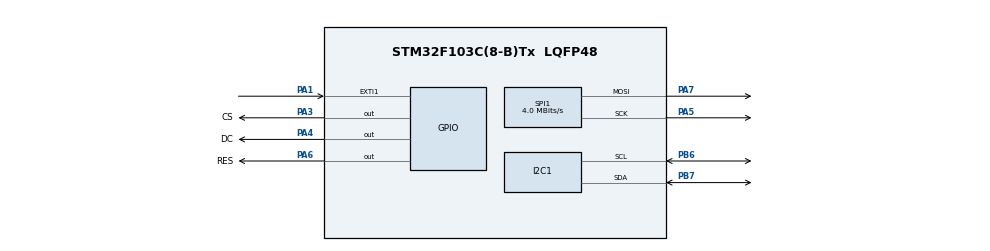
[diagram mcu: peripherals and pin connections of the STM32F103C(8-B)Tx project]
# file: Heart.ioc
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Mcu.Family=STM32F1
Mcu.Name=STM32F103C(8-B)Tx
Mcu.Package=LQFP48
NVIC.EXTI1_IRQn=true\:0\:0\:false\:false\:true\:true\:true
NVIC.PriorityGroup=NVIC_PRIORITYGROUP_4
PA1.GPIO_ModeDefaultEXTI=GPIO_MODE_IT_FALLING
PA1.GPIO_PuPd=GPIO_PULLUP
PA1.Signal=GPXTI1
PA13.Mode=Serial_Wire
PA13.Signal=SYS_JTMS-SWDIO
PA14.Mode=Serial_Wire
PA14.Signal=SYS_JTCK-SWCLK
PA3.GPIO_Label=CS
PA3.Signal=GPIO_Output
PA4.GPIO_Label=DC
PA4.Signal=GPIO_Output
PA5.Mode=TX_Only_Simplex_Unidirect_Master
PA5.Signal=SPI1_SCK
PA6.GPIO_Label=RES
PA6.Signal=GPIO_Output
PA7.Mode=TX_Only_Simplex_Unidirect_Master
PA7.Signal=SPI1_MOSI
PB6.GPIO_Pu=GPIO_PULLUP
PB6.Mode=I2C
PB6.Signal=I2C1_SCL
PB7.GPIO_Pu=GPIO_PULLUP
PB7.Mode=I2C
PB7.Signal=I2C1_SDA
ProjectManager.HeapSize=0x200
ProjectManager.StackSize=0x400
ProjectManager.TargetToolchain=STM32CubeIDE
RCC.APB1Freq_Value=8000000
RCC.APB2Freq_Value=8000000
SPI1.CalculateBaudRate=4.0 MBits/s
SPI1.Direction=SPI_DIRECTION_2LINES
SPI1.Mode=SPI_MODE_MASTER
SPI1.VirtualType=VM_MASTER
board=custom

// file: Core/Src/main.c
/* USER CODE BEGIN Header */
/**
  ******************************************************************************
  * @file           : main.c
  * @brief          : Main program body
  ******************************************************************************
  * @attention
  *
  * <h2><center>&copy; Copyright (c) 2024 STMicroelectronics.
  * All rights reserved.</center></h2>
  *
  * This software component is licensed by ST under BSD 3-Clause license,
  * the "License"; You may not use this file except in compliance with the
  * License. You may obtain a copy of the License at:
  *                        opensource.org/licenses/BSD-3-Clause
  *
  ******************************************************************************
  */
/* USER CODE END Header */
#include "main.h"

/* USER CODE BEGIN Includes */
#include "my_SSD1306.h"
#include "my_MAX30100.h"
#include "my_Fonts.h"

/* USER CODE END Includes */

I2C_HandleTypeDef hi2c1;

SPI_HandleTypeDef hspi1;

/* USER CODE BEGIN PV */
MAX30100_Handle_t max30100;

float ir_filtered = 0.0, red_filtered = 0.0;
float dc_red = 0.0, dc_ir = 0.0, ac_red = 0.0, ac_ir = 0.0;
float spo2 = 0.0, heart_rate = 0.0;

const int sample_rate = 100;
const int analysis_time = 5;
int length = sample_rate * analysis_time;
int peak_count = 0;
float peak_interval = 0;
uint8_t fifo_full_flag = 0;
uint8_t int_status;
uint8_t data_ready_flag = 0;
uint8_t error_flag = 0;

/* USER CODE END PV */

void SystemClock_Config(void);
static void MX_GPIO_Init(void);
static void MX_I2C1_Init(void);
static void MX_SPI1_Init(void);
/* USER CODE BEGIN PFP */
void process(void);
/* USER CODE END PFP */

int main(void)
{

  /* MCU Configuration--------------------------------------------------------*/

  /* Reset of all peripherals, Initializes the Flash interface and the Systick. */
  HAL_Init();

  /* Configure the system clock */
  SystemClock_Config();

  /* Initialize all configured peripherals */
  MX_GPIO_Init();
  MX_I2C1_Init();
  MX_SPI1_Init();
  /* USER CODE BEGIN 2 */
  SSD1306_Init();
  MAX30100_Init(&max30100, &hi2c1);
  SSD1306_Fill(Black);
  //SSD1306_WriteString("SSD1306 OK", Font_7x10, White);
  SSD1306_UpdateScreen();
  /* USER CODE END 2 */

  /* Infinite loop */
  while (1)
  {

    /* USER CODE BEGIN 3 */
	  if(fifo_full_flag)
	  {
		  fifo_full_flag = 0;
	      MAX30100_Read_FIFO(&max30100); // Đọc FIFO
	  }

	  if(data_ready_flag)
	  {
	      data_ready_flag = 0;
	      process(); // Xử lý dữ liệu (lọc, tính toán, hiển thị)
	  }

	  if (error_flag)
	  {
		  SSD1306_SetCursor(0, 0);
		  SSD1306_WriteString("Error detected", Font_7x10, White);
		  SSD1306_UpdateScreen();
		  HAL_Delay(1000);
		  MAX30100_Init(&max30100, &hi2c1);
		  error_flag = 0;
		  SSD1306_SetCursor(0, 20);
		  SSD1306_WriteString("Restarting...", Font_7x10, White);
		  SSD1306_UpdateScreen();
		  HAL_Delay(2000); // Khởi động lại cảm biến
	  }
  }
  /* USER CODE END 3 */
}

void SystemClock_Config(void)
{
  RCC_OscInitTypeDef RCC_OscInitStruct = {0};
  RCC_ClkInitTypeDef RCC_ClkInitStruct = {0};

  /** Initializes the RCC Oscillators according to the specified parameters
  * in the RCC_OscInitTypeDef structure.
  */
  RCC_OscInitStruct.OscillatorType = RCC_OSCILLATORTYPE_HSI;
  RCC_OscInitStruct.HSIState = RCC_HSI_ON;
  RCC_OscInitStruct.HSICalibrationValue = RCC_HSICALIBRATION_DEFAULT;
  RCC_OscInitStruct.PLL.PLLState = RCC_PLL_NONE;
  if (HAL_RCC_OscConfig(&RCC_OscInitStruct) != HAL_OK)
  {
    Error_Handler();
  }
  /** Initializes the CPU, AHB and APB buses clocks
  */
  RCC_ClkInitStruct.ClockType = RCC_CLOCKTYPE_HCLK|RCC_CLOCKTYPE_SYSCLK
                              |RCC_CLOCKTYPE_PCLK1|RCC_CLOCKTYPE_PCLK2;
  RCC_ClkInitStruct.SYSCLKSource = RCC_SYSCLKSOURCE_HSI;
  RCC_ClkInitStruct.AHBCLKDivider = RCC_SYSCLK_DIV1;
  RCC_ClkInitStruct.APB1CLKDivider = RCC_HCLK_DIV1;
  RCC_ClkInitStruct.APB2CLKDivider = RCC_HCLK_DIV1;

  if (HAL_RCC_ClockConfig(&RCC_ClkInitStruct, FLASH_LATENCY_0) != HAL_OK)
  {
    Error_Handler();
  }
}

static void MX_I2C1_Init(void)
{

  hi2c1.Instance = I2C1;
  hi2c1.Init.ClockSpeed = 100000;
  hi2c1.Init.DutyCycle = I2C_DUTYCYCLE_2;
  hi2c1.Init.OwnAddress1 = 0;
  hi2c1.Init.AddressingMode = I2C_ADDRESSINGMODE_7BIT;
  hi2c1.Init.DualAddressMode = I2C_DUALADDRESS_DISABLE;
  hi2c1.Init.OwnAddress2 = 0;
  hi2c1.Init.GeneralCallMode = I2C_GENERALCALL_DISABLE;
  hi2c1.Init.NoStretchMode = I2C_NOSTRETCH_DISABLE;
  if (HAL_I2C_Init(&hi2c1) != HAL_OK)
  {
    Error_Handler();
  }

}

static void MX_SPI1_Init(void)
{

  /* SPI1 parameter configuration*/
  hspi1.Instance = SPI1;
  hspi1.Init.Mode = SPI_MODE_MASTER;
  hspi1.Init.Direction = SPI_DIRECTION_2LINES;
  hspi1.Init.DataSize = SPI_DATASIZE_8BIT;
  hspi1.Init.CLKPolarity = SPI_POLARITY_LOW;
  hspi1.Init.CLKPhase = SPI_PHASE_1EDGE;
  hspi1.Init.NSS = SPI_NSS_SOFT;
  hspi1.Init.BaudRatePrescaler = SPI_BAUDRATEPRESCALER_2;
  hspi1.Init.FirstBit = SPI_FIRSTBIT_MSB;
  hspi1.Init.TIMode = SPI_TIMODE_DISABLE;
  hspi1.Init.CRCCalculation = SPI_CRCCALCULATION_DISABLE;
  hspi1.Init.CRCPolynomial = 10;
  if (HAL_SPI_Init(&hspi1) != HAL_OK)
  {
    Error_Handler();
  }

}

static void MX_GPIO_Init(void)
{
  GPIO_InitTypeDef GPIO_InitStruct = {0};

  /* GPIO Ports Clock Enable */
  __HAL_RCC_GPIOA_CLK_ENABLE();
  __HAL_RCC_GPIOB_CLK_ENABLE();

  /*Configure GPIO pin Output Level */
  HAL_GPIO_WritePin(GPIOA, CS_Pin|DC_Pin|RES_Pin, GPIO_PIN_RESET);

  /*Configure GPIO pin : PA1 */
  GPIO_InitStruct.Pin = GPIO_PIN_1;
  GPIO_InitStruct.Mode = GPIO_MODE_IT_FALLING;
  GPIO_InitStruct.Pull = GPIO_PULLUP;
  HAL_GPIO_Init(GPIOA, &GPIO_InitStruct);

  /*Configure GPIO pins : CS_Pin DC_Pin RES_Pin */
  GPIO_InitStruct.Pin = CS_Pin|DC_Pin|RES_Pin;
  GPIO_InitStruct.Mode = GPIO_MODE_OUTPUT_PP;
  GPIO_InitStruct.Pull = GPIO_NOPULL;
  GPIO_InitStruct.Speed = GPIO_SPEED_FREQ_LOW;
  HAL_GPIO_Init(GPIOA, &GPIO_InitStruct);

  /* EXTI interrupt init*/
  HAL_NVIC_SetPriority(EXTI1_IRQn, 0, 0);
  HAL_NVIC_EnableIRQ(EXTI1_IRQn);

}

/* USER CODE BEGIN 4 */
void process()
{
	if(int_status & (1 << 5))
	{
		ir_filtered = low_pass_filter(max30100.ir, ir_filtered, 0.9);
		peak_count = detect_peak(&ir_filtered, length);
		peak_interval = 1.0f / sample_rate;
		heart_rate = (60.0f / (peak_interval * peak_count));
	}

	if(int_status & (1 << 4))
	{
		red_filtered = low_pass_filter(max30100.red, red_filtered, 0.9);

		dc_ir = ir_filtered;
		dc_red = red_filtered;

		ac_ir = max30100.ir - dc_ir;
		ac_red = max30100.red - dc_red;
		spo2 = calculate_spo2(ac_red, dc_red, ac_ir, dc_ir);
	}

	if (heart_rate < 40.0f || heart_rate > 180.0f)
	{
		SSD1306_SetCursor(0, 20);
	    SSD1306_WriteString("HR Error", Font_7x10, White);
	    SSD1306_UpdateScreen();  // Cập nhật màn hình
	}

	if (spo2 < 85.0f || spo2 > 100.0f)
	{
		SSD1306_SetCursor(0, 40);
	    SSD1306_WriteString("SpO2 Error", Font_7x10, White);
	    SSD1306_UpdateScreen();  // Cập nhật màn hình
	}

	char buffer[32];

    SSD1306_SetCursor(0, 0);
    SSD1306_WriteString("MAX30100 Data", Font_7x10, White);

    snprintf(buffer, sizeof(buffer), "HR: %.1f bpm", heart_rate);
    SSD1306_SetCursor(0, 20);
    SSD1306_WriteString(buffer, Font_7x10, White);

    snprintf(buffer, sizeof(buffer), "SpO2: %.1f %%", spo2);
    SSD1306_SetCursor(0, 40);
    SSD1306_WriteString(buffer, Font_7x10, White);

    SSD1306_UpdateScreen();  // Cập nhật màn hình
    HAL_Delay(1000);
}

void HAL_GPIO_EXTI_Callback(uint16_t GPIO_Pin)
{
	if(GPIO_Pin == GPIO_PIN_1)
	{
		if (HAL_I2C_Mem_Read(&hi2c1, MAX30100_ADDR, MAX30100_IT_STATUS, I2C_MEMADD_SIZE_8BIT, &int_status, 1, HAL_MAX_DELAY) != HAL_OK)
		{
			// Xử lý lỗi nếu không đọc được
			error_flag = 1;
			return;
		}

		if (int_status & (1 << 7)) // FIFO Full
		{
			fifo_full_flag = 1;
		}

		// Kiểm tra dữ liệu sẵn sàng
		if (int_status & (1 << 5)) // Data Ready
		{
			data_ready_flag = 1;
		}

		if(int_status & (1 << 6))
		{
			error_flag = 1;
		}
	}
}
/* USER CODE END 4 */

void Error_Handler(void)
{
}

/************************ (C) COPYRIGHT STMicroelectronics *****END OF FILE****/
